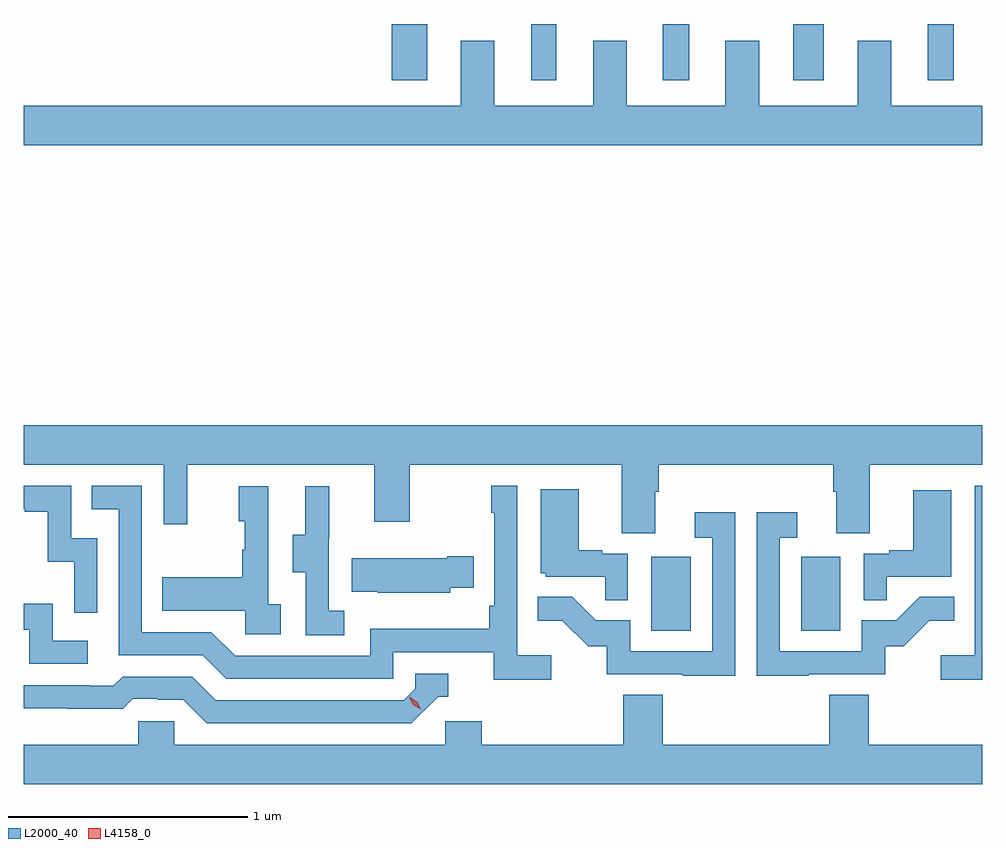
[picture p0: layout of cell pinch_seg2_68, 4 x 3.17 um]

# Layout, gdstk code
import gdstk
lib = gdstk.Library(unit=1e-6, precision=1e-09)
def R(c, l, rs):  # rectangles x0, y0, x1, y1
    for r in rs: c.add(gdstk.rectangle(r[:2], r[2:], *l))
def P(c, l, *ps):  # polygons
    for p in ps: c.add(gdstk.Polygon(p, *l))
L2000_40 = (2000, 40)
L4158_0 = (4158, 0)

pinch_seg2_68 = lib.new_cell('pinch_seg2_68')
R(pinch_seg2_68, L2000_40, [(1020.506,650.94,1020.67,651.247), (1021.13,650.94,1021.294,651.247), (1019.423,653.235,1019.572,653.47), (1020.005,653.235,1020.109,653.47), (1020.554,653.235,1020.664,653.47), (1021.097,653.235,1021.225,653.47), (1021.658,653.235,1021.768,653.47)])
P(pinch_seg2_68, L2000_40, [(1021.887,653.128),(1021.507,653.128),(1021.507,653.401),(1021.367,653.401),(1021.367,653.128),(1020.955,653.128),(1020.955,653.401),(1020.815,653.401),(1020.815,653.128),(1020.403,653.128),(1020.403,653.401),(1020.263,653.401),(1020.263,653.128),(1019.851,653.128),(1019.851,653.401),(1019.711,653.401),(1019.711,653.128),(1017.887,653.128),(1017.887,652.964),(1021.887,652.964)],
  [(1020.523,651.52),(1020.536,651.52),(1020.536,651.632),(1021.265,651.632),(1021.265,651.52),(1021.277,651.52),(1021.277,651.346),(1021.417,651.346),(1021.417,651.632),(1021.887,651.632),(1021.887,651.796),(1017.887,651.796),(1017.887,651.632),(1018.473,651.632),(1018.473,651.384),(1018.571,651.384),(1018.571,651.632),(1019.351,651.632),(1019.351,651.393),(1019.499,651.393),(1019.499,651.632),(1020.383,651.632),(1020.383,651.346),(1020.523,651.346)],
  [(1020.088,650.836),(1019.946,650.836),(1019.946,651.544),(1019.838,651.544),(1019.838,651.431),(1019.85,651.431),(1019.85,651.043),(1019.83,651.043),(1019.83,650.947),(1019.334,650.947),(1019.334,650.835),(1018.77,650.835),(1018.671,650.934),(1018.38,650.934),(1018.38,651.543),(1018.171,651.543),(1018.171,651.447),(1018.284,651.447),(1018.284,650.838),(1018.634,650.838),(1018.733,650.739),(1019.43,650.739),(1019.43,650.85),(1019.849,650.85),(1019.849,650.734),(1020.088,650.734)],
  [(1021.887,651.544),(1021.854,651.544),(1021.854,650.836),(1021.713,650.836),(1021.713,650.734),(1021.887,650.734)],
  [(1018.194,651.324),(1018.086,651.324),(1018.086,651.543),(1017.887,651.543),(1017.887,651.447),(1017.893,651.447),(1017.893,651.435),(1017.989,651.435),(1017.989,651.227),(1018.098,651.227),(1018.098,651.015),(1018.194,651.015)],
  [(1019.224,651.023),(1019.16,651.023),(1019.16,651.327),(1019.162,651.327),(1019.162,651.541),(1019.063,651.541),(1019.063,651.339),(1019.009,651.339),(1019.009,651.184),(1019.064,651.184),(1019.064,650.92),(1019.224,650.92)],
  [(1018.96,651.05),(1018.908,651.05),(1018.908,651.541),(1018.784,651.541),(1018.784,651.396),(1018.81,651.396),(1018.81,651.278),(1018.8,651.278),(1018.8,651.163),(1018.465,651.163),(1018.465,651.023),(1018.812,651.023),(1018.812,650.925),(1018.96,650.925)],
  [(1020.408,651.261),(1020.302,651.261),(1020.302,651.274),(1020.202,651.274),(1020.202,651.529),(1020.044,651.529),(1020.044,651.18),(1020.066,651.18),(1020.066,651.165),(1020.313,651.165),(1020.313,651.067),(1020.408,651.067)],
  [(1021.487,651.165),(1021.756,651.165),(1021.756,651.526),(1021.598,651.526),(1021.598,651.274),(1021.499,651.274),(1021.499,651.261),(1021.392,651.261),(1021.392,651.067),(1021.487,651.067)],
  [(1020.855,651.433),(1020.687,651.433),(1020.687,651.327),(1020.759,651.327),(1020.759,650.853),(1020.417,650.853),(1020.417,650.982),(1020.273,650.982),(1020.175,651.08),(1020.031,651.08),(1020.031,650.981),(1020.135,650.981),(1020.242,650.874),(1020.319,650.874),(1020.319,650.757),(1020.637,650.757),(1020.637,650.752),(1020.855,650.752)],
  [(1021.163,650.757),(1021.482,650.757),(1021.482,650.874),(1021.558,650.874),(1021.665,650.981),(1021.769,650.981),(1021.769,651.08),(1021.625,651.08),(1021.527,650.982),(1021.383,650.982),(1021.383,650.853),(1021.041,650.853),(1021.041,651.327),(1021.114,651.327),(1021.114,651.433),(1020.945,651.433),(1020.945,650.752),(1021.163,650.752)],
  [(1019.667,651.119),(1019.765,651.119),(1019.765,651.249),(1019.654,651.249),(1019.654,651.241),(1019.257,651.241),(1019.257,651.101),(1019.365,651.101),(1019.365,651.098),(1019.667,651.098)],
  [(1018.156,650.898),(1018.008,650.898),(1018.008,651.052),(1017.887,651.052),(1017.887,650.943),(1017.912,650.943),(1017.912,650.802),(1018.156,650.802)],
  [(1019.616,650.664),(1019.659,650.664),(1019.659,650.76),(1019.52,650.76),(1019.52,650.697),(1019.472,650.649),(1018.689,650.649),(1018.59,650.748),(1018.301,650.748),(1018.262,650.709),(1018.163,650.709),(1018.163,650.712),(1017.887,650.712),(1017.887,650.615),(1018.068,650.615),(1018.068,650.613),(1018.301,650.613),(1018.343,650.655),(1018.446,650.655),(1018.446,650.652),(1018.553,650.652),(1018.652,650.553),(1019.505,650.553)],
  [(1021.887,650.464),(1021.412,650.464),(1021.412,650.672),(1021.247,650.672),(1021.247,650.464),(1020.554,650.464),(1020.554,650.672),(1020.389,650.672),(1020.389,650.464),(1019.798,650.464),(1019.798,650.562),(1019.646,650.562),(1019.646,650.464),(1018.515,650.464),(1018.515,650.562),(1018.365,650.562),(1018.365,650.464),(1017.887,650.464),(1017.887,650.3),(1021.887,650.3)])
P(pinch_seg2_68, L4158_0, [(1019.543,650.611),(1019.512,650.63),(1019.495,650.662),(1019.495,650.663),(1019.496,650.663),(1019.527,650.644),(1019.543,650.611),(1019.543,650.611)])

lib.write_gds('pinch_seg2_68.gds')
